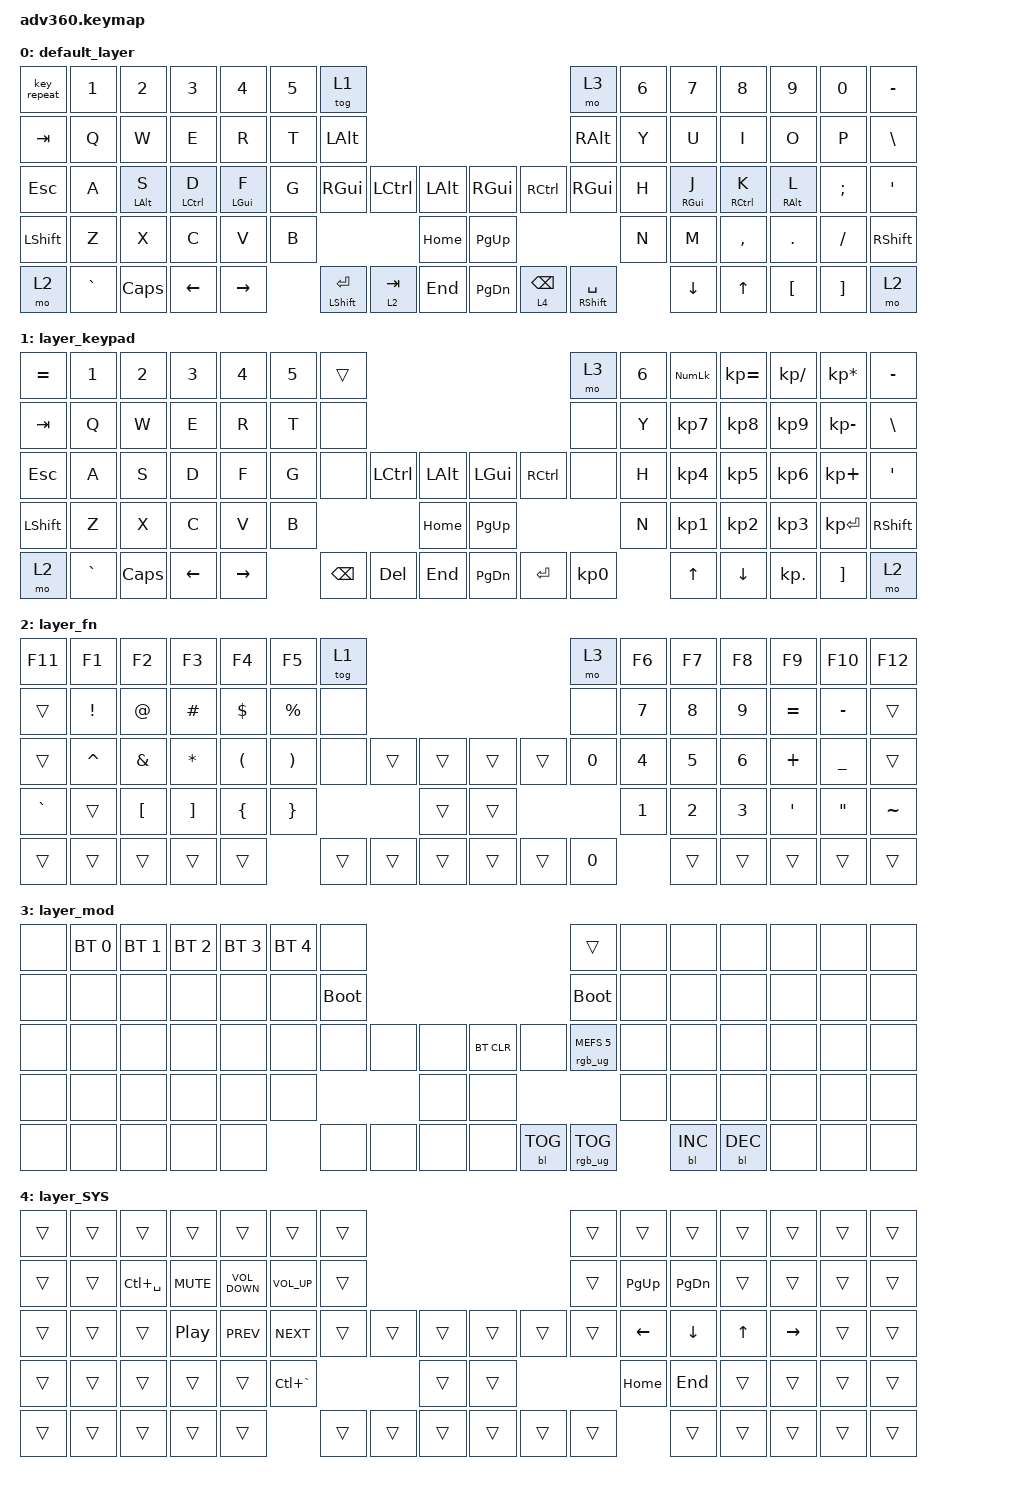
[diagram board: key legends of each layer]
/*
 * Copyright (c) 2020 The ZMK Contributors
 *
 * SPDX-License-Identifier: MIT
 */
/* THIS FILE WAS GENERATED!
 *
 * This file was generated automatically. You may or may not want to
 * edit it directly.
 */

#include <behaviors.dtsi>
#include <dt-bindings/zmk/backlight.h>
#include <dt-bindings/zmk/bt.h>
#include <dt-bindings/zmk/keys.h>
#include <dt-bindings/zmk/rgb.h>

/ {
    behaviors {
        #include "macros.dtsi"
    #include "version.dtsi"

        hm: homerow_mods {
            compatible = "zmk,behavior-hold-tap";
            label = "HOMEROW_MODS";
            #binding-cells = <2>;
            tapping-term-ms = <200>;
            quick_tap_ms = <175>;
            flavor = "tap-preferred";
            bindings = <&kp>, <&kp>;
        };

        hml: hml {
            compatible = "zmk,behavior-hold-tap";
            label = "HML";
            bindings = <&kp>, <&kp>;

            #binding-cells = <2>;
            tapping-term-ms = <180>;
            flavor = "tap-preferred";
            retro-tap;
            hold-trigger-key-positions = <32 31 30 65 29>;
            hold-trigger-on-release;
        };

        hmr: hmr {
            compatible = "zmk,behavior-hold-tap";
            label = "HMR";
            bindings = <&kp>, <&kp>;

            #binding-cells = <2>;
            tapping-term-ms = <180>;
            flavor = "tap-preferred";
            retro-tap;
            hold-trigger-on-release;
            hold-trigger-key-positions = <41 42 43 44 70>;
        };
    };

    keymap {
        compatible = "zmk,keymap";

        default_layer {
            bindings = <
&key_repeat     &kp N1     &kp N2           &kp N3               &kp N4           &kp N5  &tog 1                                                                                     &mo 3                   &kp N6  &kp N7            &kp N8                &kp N9            &kp N0         &kp MINUS
&kp TAB         &kp Q      &kp W            &kp E                &kp R            &kp T   &kp LEFT_ALT                                                                               &kp RIGHT_ALT           &kp Y   &kp U             &kp I                 &kp O             &kp P          &kp BSLH
&kp ESC         &kp A      &hml LEFT_ALT S  &hml LEFT_CONTROL D  &hml LEFT_GUI F  &kp G   &kp RIGHT_GUI          &kp LEFT_CONTROL  &kp LEFT_ALT      &kp RIGHT_GUI  &kp RCTRL        &kp RIGHT_GUI           &kp H   &hmr RIGHT_GUI J  &hmr RIGHT_CONTROL K  &hmr RIGHT_ALT L  &kp SEMICOLON  &kp SQT
&kp LEFT_SHIFT  &kp Z      &kp X            &kp C                &kp V            &kp B                                            &kp HOME          &kp PG_UP                                               &kp N   &kp M             &kp COMMA             &kp DOT           &kp FSLH       &kp RIGHT_SHIFT
&mo 2           &kp GRAVE  &kp CAPSLOCK     &kp LEFT             &kp RIGHT                &hml LEFT_SHIFT ENTER  &lt 2 TAB         &kp END           &kp PAGE_DOWN  &lt 4 BACKSPACE  &hmr RIGHT_SHIFT SPACE          &kp DOWN          &kp UP_ARROW          &kp LBKT          &kp RBKT       &mo 2
            >;
        };

        layer_keypad {
            bindings = <
&kp EQUAL  &kp N1     &kp N2    &kp N3    &kp N4     &kp N5  &trans                                                   &mo 3      &kp N6  &kp KP_NUM  &kp KP_EQUAL  &kp KP_DIVIDE  &kp KP_MULTIPLY  &kp MINUS
&kp TAB    &kp Q      &kp W     &kp E     &kp R      &kp T   &none                                                    &none      &kp Y   &kp KP_N7   &kp KP_N8     &kp KP_N9      &kp KP_MINUS     &kp BSLH
&kp ESC    &kp A      &kp S     &kp D     &kp F      &kp G   &none     &kp LCTRL  &kp LALT      &kp LGUI   &kp RCTRL  &none      &kp H   &kp KP_N4   &kp KP_N5     &kp KP_N6      &kp KP_PLUS      &kp SQT
&kp LSHFT  &kp Z      &kp X     &kp C     &kp V      &kp B                        &kp HOME      &kp PG_UP                        &kp N   &kp KP_N1   &kp KP_N2     &kp KP_N3      &kp KP_ENTER     &kp RSHFT
&mo 2      &kp GRAVE  &kp CAPS  &kp LEFT  &kp RIGHT          &kp BSPC  &kp DEL    &kp END       &kp PG_DN  &kp ENTER  &kp KP_N0          &kp UP      &kp DOWN      &kp KP_DOT     &kp RBKT         &mo 2
            >;
        };

        layer_fn {
            bindings = <
&kp F11    &kp F1           &kp F2            &kp F3             &kp F4                &kp F5                 &tog 1                                      &mo 3         &kp F6        &kp F7        &kp F8        &kp F9            &kp F10            &kp F12
&trans     &kp EXCLAMATION  &kp AT_SIGN       &kp POUND          &kp DOLLAR            &kp PERCENT            &none                                       &none         &kp NUMBER_7  &kp NUMBER_8  &kp NUMBER_9  &kp EQUAL         &kp MINUS          &trans
&trans     &kp CARET        &kp AMPERSAND     &kp STAR           &kp LEFT_PARENTHESIS  &kp RIGHT_PARENTHESIS  &none   &trans  &trans      &trans  &trans  &kp NUMBER_0  &kp NUMBER_4  &kp NUMBER_5  &kp NUMBER_6  &kp PLUS          &kp UNDER          &trans
&kp GRAVE  &trans           &kp LEFT_BRACKET  &kp RIGHT_BRACKET  &kp LEFT_BRACE        &kp RIGHT_BRACE                        &trans      &trans                        &kp NUMBER_1  &kp NUMBER_2  &kp NUMBER_3  &kp SINGLE_QUOTE  &kp DOUBLE_QUOTES  &kp TILDE
&trans     &trans           &trans            &trans             &trans                                       &trans  &trans  &trans      &trans  &trans  &kp N0                      &trans        &trans        &trans            &trans             &trans
            >;
        };

        layer_mod {
            bindings = <
&none  &bt BT_SEL 0  &bt BT_SEL 1  &bt BT_SEL 2  &bt BT_SEL 3  &bt BT_SEL 4  &none                                                  &trans                  &none  &none       &none       &none  &none  &none
&none  &none         &none         &none         &none         &none         &bootloader                                            &bootloader             &none  &none       &none       &none  &none  &none
&none  &none         &none         &none         &none         &none         &none        &none  &none      &bt BT_CLR  &none       &rgb_ug RGB_MEFS_CMD 5  &none  &none       &none       &none  &none  &none
&none  &none         &none         &none         &none         &none                             &none      &none                                           &none  &none       &none       &none  &none  &none
&none  &none         &none         &none         &none                       &none        &none  &none      &none       &bl BL_TOG  &rgb_ug RGB_TOG                &bl BL_INC  &bl BL_DEC  &none  &none  &none
            >;
        };

        layer_SYS {
            bindings = <
&trans  &trans  &trans         &trans            &trans             &trans         &trans                                      &trans  &trans          &trans          &trans        &trans           &trans  &trans
&trans  &trans  &kp LC(SPACE)  &kp C_MUTE        &kp C_VOLUME_DOWN  &kp C_VOL_UP   &trans                                      &trans  &kp PAGE_UP     &kp PAGE_DOWN   &trans        &trans           &trans  &trans
&trans  &trans  &trans         &kp C_PLAY_PAUSE  &kp C_PREV         &kp C_NEXT     &trans  &trans  &trans      &trans  &trans  &trans  &kp LEFT_ARROW  &kp DOWN_ARROW  &kp UP_ARROW  &kp RIGHT_ARROW  &trans  &trans
&trans  &trans  &trans         &trans            &trans             &kp LC(GRAVE)                  &trans      &trans                  &kp HOME        &kp END         &trans        &trans           &trans  &trans
&trans  &trans  &trans         &trans            &trans                            &trans  &trans  &trans      &trans  &trans  &trans                  &trans          &trans        &trans           &trans  &trans
            >;
        };
    };
};
